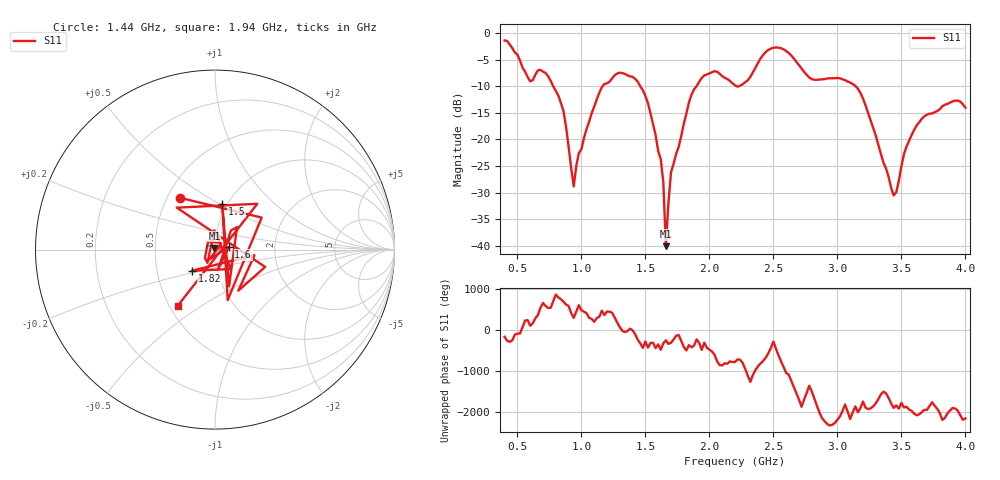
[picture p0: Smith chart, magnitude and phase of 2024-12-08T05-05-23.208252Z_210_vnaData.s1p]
!Created with skrf (http://scikit-rf.org).
# Hz S RI R 50.0
!freq ReS11 ImS11
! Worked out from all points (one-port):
!   181 points, 400 MHz to 4 GHz, reference 50 ohm
!   lowest |S11| = -40.0 dB at 1.66 GHz (marker M1), VSWR 1.02, Z = 49.7 + j0.93 ohm
!   |S11| at or under -10 dB: 779.4 MHz to 1.166 GHz (386.5 MHz wide, 39.7 % of centre); 1.459 GHz to 1.9 GHz (440.2 MHz wide, 26.2 % of centre); 3.143 GHz to end of sweep (the widest 3 of 4)
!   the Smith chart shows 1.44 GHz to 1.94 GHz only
!   S11 on the Smith chart (normalised r, x): 1.44 GHz: 0.58, +0.38; 1.5 GHz: 0.95, +0.51; 1.6 GHz: 1.16, +0.03; 1.82 GHz: 0.75, -0.18; 1.94 GHz: 0.55, -0.40
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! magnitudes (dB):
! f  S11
! 400 MHz  -1.4
! 600 MHz  -9.1
! 720 MHz  -7.5
! 860 MHz  -14.7
! 940 MHz  -28.8
! 980 MHz  -22.6
! 1.14 GHz  -11.2
! 1.3 GHz  -7.5
! 1.44 GHz  -9.1
! 1.5 GHz  -11.8
! 1.6 GHz  -22.2
! 1.64 GHz  -28.1
! 1.66 GHz  -40.0
! 1.7 GHz  -26.2
! 1.76 GHz  -21.4
! 1.82 GHz  -15.2
! 1.94 GHz  -8.5
! 2.06 GHz  -7.3
! 2.2 GHz  -9.8
! 2.48 GHz  -2.9
! 2.66 GHz  -4.8
! 2.8 GHz  -8.7
! 3.1 GHz  -9.3
! 3.2 GHz  -12.3
! 3.44 GHz  -30.5
! 3.56 GHz  -20.3
! 3.7 GHz  -15.3
! 4 GHz  -14.0
